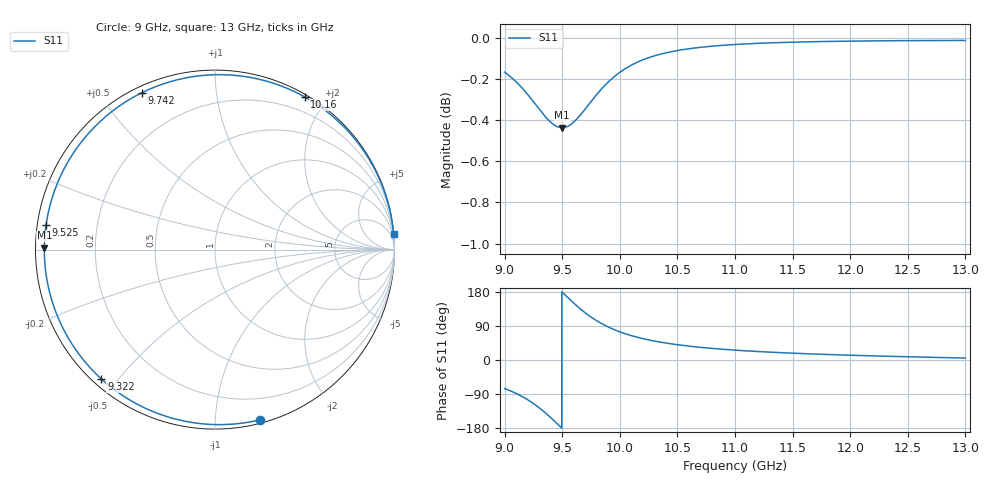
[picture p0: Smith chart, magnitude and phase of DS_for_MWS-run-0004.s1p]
! TOUCHSTONE file generated by CST DESIGN STUDIO
! Date and time: Tue Feb  4 17:56:28 2025
! Project name: C:\Work\MatlabApps\UnitCellOptimizationMatlab\CST\unitcell.cst
! Tree item: Tasks\Sweep1\SPara1\S-Parameters
! Header version: 2024
! Port assignment regex: !\s*Touchstone port\s*([0-9]+)\s*=\s*(CST MWS port|CST DES external port|CST DES block port)\s*(.+)\s* \(\"(.*)\"\)(\s*mode\s*([0-9]+))?.*
! Touchstone port assignment:
! Touchstone port 1 = CST DES external port 1 ("")
# GHz S MA R 50
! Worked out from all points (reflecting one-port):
!   4001 points, 9 GHz to 13 GHz, reference 50 ohm
!   lowest |S11| = -0.4 dB at 9.499 GHz (marker M1), VSWR 39.77, Z = 1.26 + j0.262 ohm
!   phase of S11 starts at -75 deg and turns -280 deg over the sweep
!   S11 on the Smith chart (normalised r, x): 9 GHz: 0.03, -1.29; 9.322 GHz: 0.03, -0.45; 9.525 GHz: 0.03, +0.07; 9.742 GHz: 0.03, +0.64; 10.16 GHz: 0.03, +1.74; 13 GHz: 0, +22
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9  0.981 -75.3
9.084  0.9766 -85.9
9.185  0.9699 -102.0
9.256  0.9644 -116.0
9.322  0.9592 -131.3
9.369  0.9557 -143.3
9.419  0.9529 -157.2
9.46  0.9514 -169.1
9.499  0.9509 179.4
9.5  0.9509 179.1
9.525  0.9512 171.7
9.578  0.9528 156.3
9.638  0.9563 139.8
9.689  0.9601 127.0
9.742  0.9643 115.0
9.795  0.9684 104.4
9.853  0.9726 94.3
9.926  0.9771 83.5
10  0.9809 74.3
10.157  0.9866 59.6
10.313  0.9902 49.3
10.5  0.9929 40.3
10.722  0.9948 32.8
11  0.9963 26.0
11.5  0.9976 18.0
12  0.9981 12.6
12.5  0.9984 8.5
13  0.9985 5.1
